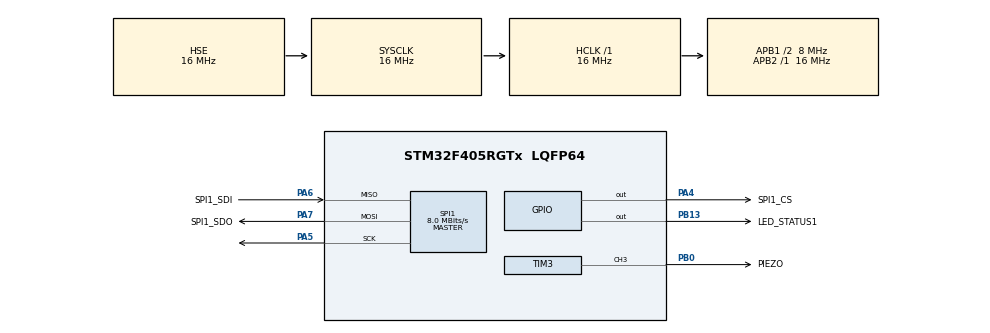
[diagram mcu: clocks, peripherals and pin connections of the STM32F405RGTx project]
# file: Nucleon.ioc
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FREERTOS.Queues01=toneQueue,100,tone,0,Dynamic,NULL,NULL
FREERTOS.Tasks01=blink,24,128,StartBlink,Default,NULL,Dynamic,NULL,NULL;flashDemo,16,128,StartFlashDemo,Default,NULL,Dynamic,NULL,NULL;indicator,8,128,StartIndicator,Default,NULL,Dynamic,NULL,NULL
Mcu.Family=STM32F4
Mcu.Name=STM32F405RGTx
Mcu.Package=LQFP64
NVIC.PriorityGroup=NVIC_PRIORITYGROUP_4
NVIC.TIM6_DAC_IRQn=true\:0\:0\:false\:false\:true\:false\:false\:true
NVIC.TimeBase=TIM6_DAC_IRQn
NVIC.TimeBaseIP=TIM6
PA13.Mode=Trace_Asynchronous_SW
PA13.Signal=SYS_JTMS-SWDIO
PA14.Mode=Trace_Asynchronous_SW
PA14.Signal=SYS_JTCK-SWCLK
PA4.GPIO_Label=SPI1_CS
PA4.Signal=GPIO_Output
PA5.Mode=Full_Duplex_Master
PA5.Signal=SPI1_SCK
PA6.GPIO_Label=SPI1_SDI
PA6.Mode=Full_Duplex_Master
PA6.Signal=SPI1_MISO
PA7.GPIO_Label=SPI1_SDO
PA7.Mode=Full_Duplex_Master
PA7.Signal=SPI1_MOSI
PB0.GPIO_Label=PIEZO
PB0.Signal=S_TIM3_CH3
PB13.GPIO_Label=LED_STATUS1
PB13.Signal=GPIO_Output
PB3.Mode=Trace_Asynchronous_SW
PB3.Signal=SYS_JTDO-SWO
PH0-OSC_IN.Mode=HSE-External-Oscillator
PH0-OSC_IN.Signal=RCC_OSC_IN
PH1-OSC_OUT.Mode=HSE-External-Oscillator
PH1-OSC_OUT.Signal=RCC_OSC_OUT
ProjectManager.HeapSize=0x200
ProjectManager.StackSize=0x400
ProjectManager.TargetToolchain=STM32CubeIDE
RCC.48MHZClocksFreq_Value=25000000
RCC.AHBFreq_Value=16000000
RCC.APB1CLKDivider=RCC_HCLK_DIV2
RCC.APB1Freq_Value=8000000
RCC.APB1TimFreq_Value=16000000
RCC.APB2Freq_Value=16000000
RCC.APB2TimFreq_Value=16000000
RCC.CortexFreq_Value=16000000
RCC.HCLKFreq_Value=16000000
RCC.HSE_VALUE=16000000
RCC.HSI_VALUE=16000000
RCC.LSE_VALUE=32768
RCC.PLLM=8
RCC.PLLN=50
RCC.PLLSourceVirtual=RCC_PLLSOURCE_HSE
RCC.SYSCLKFreq_VALUE=16000000
RCC.SYSCLKSource=RCC_SYSCLKSOURCE_HSE
RCC.VCOOutputFreq_Value=100000000
SH.S_TIM3_CH3.0=TIM3_CH3,PWM Generation3 CH3
SPI1.BaudRatePrescaler=SPI_BAUDRATEPRESCALER_2
SPI1.CalculateBaudRate=8.0 MBits/s
SPI1.Direction=SPI_DIRECTION_2LINES
SPI1.Mode=SPI_MODE_MASTER
SPI1.VirtualType=VM_MASTER
TIM3.Channel-PWM\ Generation3\ CH3=TIM_CHANNEL_3
TIM3.Period=1000
TIM3.Prescaler=16
TIM3.Pulse-PWM\ Generation3\ CH3=500
VP_FREERTOS_VS_CMSIS_V2.Mode=CMSIS_V2
VP_SYS_VS_tim6.Mode=TIM6
VP_TIM3_VS_ClockSourceINT.Mode=Internal
board=custom

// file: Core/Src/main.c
/* USER CODE BEGIN Header */
/**
  ******************************************************************************
  * @file           : main.c
  * @brief          : Main program body
  ******************************************************************************
  * @attention
  *
  * <h2><center>&copy; Copyright (c) 2020 STMicroelectronics.
  * All rights reserved.</center></h2>
  *
  * This software component is licensed by ST under BSD 3-Clause license,
  * the "License"; You may not use this file except in compliance with the
  * License. You may obtain a copy of the License at:
  *                        opensource.org/licenses/BSD-3-Clause
  *
  ******************************************************************************
  */
/* USER CODE END Header */

#include "main.h"
#include "cmsis_os.h"

/* USER CODE BEGIN Includes */
#include "Human_Interface/indicator.h"
#include "stdio.h"
#include "stdbool.h"
/* USER CODE END Includes */

SPI_HandleTypeDef hspi1;

TIM_HandleTypeDef htim3;

/* Definitions for blink */
osThreadId_t blinkHandle;
const osThreadAttr_t blink_attributes = {
  .name = "blink",
  .priority = (osPriority_t) osPriorityNormal,
  .stack_size = 128 * 4
};
/* Definitions for flashDemo */
osThreadId_t flashDemoHandle;
const osThreadAttr_t flashDemo_attributes = {
  .name = "flashDemo",
  .priority = (osPriority_t) osPriorityBelowNormal,
  .stack_size = 128 * 4
};
/* Definitions for indicator */
osThreadId_t indicatorHandle;
const osThreadAttr_t indicator_attributes = {
  .name = "indicator",
  .priority = (osPriority_t) osPriorityLow,
  .stack_size = 128 * 4
};
/* Definitions for toneQueue */
osMessageQueueId_t toneQueueHandle;
const osMessageQueueAttr_t toneQueue_attributes = {
  .name = "toneQueue"
};

void SystemClock_Config(void);
static void MX_GPIO_Init(void);
static void MX_SPI1_Init(void);
static void MX_TIM3_Init(void);
void StartBlink(void *argument);
void StartFlashDemo(void *argument);
void StartIndicator(void *argument);

/* USER CODE BEGIN 0 */
/* SPI Arrays */
uint8_t cmd[4] = {0, 0, 0, 0};
uint8_t data[4] = {0, 0, 0, 0};

/* Redirect printf to debug console */
int _write(int file, char *ptr, int len)
{
	int i = 0;
	for (i = 0; i < len; ++i)
		ITM_SendChar((*ptr++));
	return len;
}
/* USER CODE END 0 */

int main(void)
{

  /* MCU Configuration--------------------------------------------------------*/

  /* Reset of all peripherals, Initializes the Flash interface and the Systick. */
  HAL_Init();

  /* Configure the system clock */
  SystemClock_Config();

  /* Initialize all configured peripherals */
  MX_GPIO_Init();
  MX_SPI1_Init();
  MX_TIM3_Init();

  /* Init scheduler */
  osKernelInitialize();

  /* Create the queue(s) */
  /* creation of toneQueue */
  toneQueueHandle = osMessageQueueNew (100, sizeof(tone), &toneQueue_attributes);

  /* USER CODE BEGIN RTOS_QUEUES */
  toneQueueId = toneQueueHandle;
  piezo = htim3;
  /* add queues, ... */
  /* USER CODE END RTOS_QUEUES */

  /* Create the thread(s) */
  /* creation of blink */
  blinkHandle = osThreadNew(StartBlink, NULL, &blink_attributes);

  /* creation of flashDemo */
  flashDemoHandle = osThreadNew(StartFlashDemo, NULL, &flashDemo_attributes);

  /* creation of indicator */
  indicatorHandle = osThreadNew(StartIndicator, NULL, &indicator_attributes);

  /* USER CODE BEGIN RTOS_THREADS */
  /* add threads, ... */

  /* Boot finished, Kernel ready to start. */
  boot_tone();
  /* USER CODE END RTOS_THREADS */

  /* Start scheduler */
  osKernelStart();

  /* We should never get here as control is now taken by the scheduler */
  /* Infinite loop */
  while (1)
  {

  }
}

void SystemClock_Config(void)
{
  RCC_OscInitTypeDef RCC_OscInitStruct = {0};
  RCC_ClkInitTypeDef RCC_ClkInitStruct = {0};

  /** Configure the main internal regulator output voltage
  */
  __HAL_RCC_PWR_CLK_ENABLE();
  __HAL_PWR_VOLTAGESCALING_CONFIG(PWR_REGULATOR_VOLTAGE_SCALE1);
  /** Initializes the CPU, AHB and APB busses clocks
  */
  RCC_OscInitStruct.OscillatorType = RCC_OSCILLATORTYPE_HSE;
  RCC_OscInitStruct.HSEState = RCC_HSE_ON;
  RCC_OscInitStruct.PLL.PLLState = RCC_PLL_NONE;
  if (HAL_RCC_OscConfig(&RCC_OscInitStruct) != HAL_OK)
  {
    Error_Handler();
  }
  /** Initializes the CPU, AHB and APB busses clocks
  */
  RCC_ClkInitStruct.ClockType = RCC_CLOCKTYPE_HCLK|RCC_CLOCKTYPE_SYSCLK
                              |RCC_CLOCKTYPE_PCLK1|RCC_CLOCKTYPE_PCLK2;
  RCC_ClkInitStruct.SYSCLKSource = RCC_SYSCLKSOURCE_HSE;
  RCC_ClkInitStruct.AHBCLKDivider = RCC_SYSCLK_DIV1;
  RCC_ClkInitStruct.APB1CLKDivider = RCC_HCLK_DIV2;
  RCC_ClkInitStruct.APB2CLKDivider = RCC_HCLK_DIV1;

  if (HAL_RCC_ClockConfig(&RCC_ClkInitStruct, FLASH_LATENCY_0) != HAL_OK)
  {
    Error_Handler();
  }
}

static void MX_SPI1_Init(void)
{

  /* SPI1 parameter configuration*/
  hspi1.Instance = SPI1;
  hspi1.Init.Mode = SPI_MODE_MASTER;
  hspi1.Init.Direction = SPI_DIRECTION_2LINES;
  hspi1.Init.DataSize = SPI_DATASIZE_8BIT;
  hspi1.Init.CLKPolarity = SPI_POLARITY_LOW;
  hspi1.Init.CLKPhase = SPI_PHASE_1EDGE;
  hspi1.Init.NSS = SPI_NSS_SOFT;
  hspi1.Init.BaudRatePrescaler = SPI_BAUDRATEPRESCALER_2;
  hspi1.Init.FirstBit = SPI_FIRSTBIT_MSB;
  hspi1.Init.TIMode = SPI_TIMODE_DISABLE;
  hspi1.Init.CRCCalculation = SPI_CRCCALCULATION_DISABLE;
  hspi1.Init.CRCPolynomial = 10;
  if (HAL_SPI_Init(&hspi1) != HAL_OK)
  {
    Error_Handler();
  }

}

static void MX_TIM3_Init(void)
{

  TIM_ClockConfigTypeDef sClockSourceConfig = {0};
  TIM_MasterConfigTypeDef sMasterConfig = {0};
  TIM_OC_InitTypeDef sConfigOC = {0};

  htim3.Instance = TIM3;
  htim3.Init.Prescaler = 16;
  htim3.Init.CounterMode = TIM_COUNTERMODE_UP;
  htim3.Init.Period = 1000;
  htim3.Init.ClockDivision = TIM_CLOCKDIVISION_DIV1;
  htim3.Init.AutoReloadPreload = TIM_AUTORELOAD_PRELOAD_DISABLE;
  if (HAL_TIM_Base_Init(&htim3) != HAL_OK)
  {
    Error_Handler();
  }
  sClockSourceConfig.ClockSource = TIM_CLOCKSOURCE_INTERNAL;
  if (HAL_TIM_ConfigClockSource(&htim3, &sClockSourceConfig) != HAL_OK)
  {
    Error_Handler();
  }
  if (HAL_TIM_PWM_Init(&htim3) != HAL_OK)
  {
    Error_Handler();
  }
  sMasterConfig.MasterOutputTrigger = TIM_TRGO_RESET;
  sMasterConfig.MasterSlaveMode = TIM_MASTERSLAVEMODE_DISABLE;
  if (HAL_TIMEx_MasterConfigSynchronization(&htim3, &sMasterConfig) != HAL_OK)
  {
    Error_Handler();
  }
  sConfigOC.OCMode = TIM_OCMODE_PWM1;
  sConfigOC.Pulse = 500;
  sConfigOC.OCPolarity = TIM_OCPOLARITY_HIGH;
  sConfigOC.OCFastMode = TIM_OCFAST_DISABLE;
  if (HAL_TIM_PWM_ConfigChannel(&htim3, &sConfigOC, TIM_CHANNEL_3) != HAL_OK)
  {
    Error_Handler();
  }
  HAL_TIM_MspPostInit(&htim3);

}

static void MX_GPIO_Init(void)
{
  GPIO_InitTypeDef GPIO_InitStruct = {0};

  /* GPIO Ports Clock Enable */
  __HAL_RCC_GPIOH_CLK_ENABLE();
  __HAL_RCC_GPIOA_CLK_ENABLE();
  __HAL_RCC_GPIOB_CLK_ENABLE();

  /*Configure GPIO pin Output Level */
  HAL_GPIO_WritePin(SPI1_CS_GPIO_Port, SPI1_CS_Pin, GPIO_PIN_RESET);

  /*Configure GPIO pin Output Level */
  HAL_GPIO_WritePin(LED_STATUS1_GPIO_Port, LED_STATUS1_Pin, GPIO_PIN_RESET);

  /*Configure GPIO pin : SPI1_CS_Pin */
  GPIO_InitStruct.Pin = SPI1_CS_Pin;
  GPIO_InitStruct.Mode = GPIO_MODE_OUTPUT_PP;
  GPIO_InitStruct.Pull = GPIO_NOPULL;
  GPIO_InitStruct.Speed = GPIO_SPEED_FREQ_LOW;
  HAL_GPIO_Init(SPI1_CS_GPIO_Port, &GPIO_InitStruct);

  /*Configure GPIO pin : LED_STATUS1_Pin */
  GPIO_InitStruct.Pin = LED_STATUS1_Pin;
  GPIO_InitStruct.Mode = GPIO_MODE_OUTPUT_PP;
  GPIO_InitStruct.Pull = GPIO_NOPULL;
  GPIO_InitStruct.Speed = GPIO_SPEED_FREQ_LOW;
  HAL_GPIO_Init(LED_STATUS1_GPIO_Port, &GPIO_InitStruct);

}

void StartBlink(void *argument)
{
  /* USER CODE BEGIN 5 */
  /* Infinite loop */
  for(;;)
  {
	  rest(2000);
	  number_tone(4200);
	  rest(2000);
	  standby_tone();
	  HAL_GPIO_TogglePin(LED_STATUS1_GPIO_Port, LED_STATUS1_Pin);
	  rest(2000);
	  standby_tone();
	  osDelay(8000);
  }

  osThreadTerminate(NULL);
  /* USER CODE END 5 */
}

void StartFlashDemo(void *argument)
{
  /* USER CODE BEGIN StartFlashDemo */
  cmd[0] = 0x9f;
  /* Infinite loop */
  for(;;)
  {
	  HAL_GPIO_WritePin(SPI1_CS_GPIO_Port, SPI1_CS_Pin, GPIO_PIN_SET);
	  HAL_GPIO_WritePin(SPI1_CS_GPIO_Port, SPI1_CS_Pin, GPIO_PIN_RESET);
	  HAL_SPI_TransmitReceive(&hspi1, cmd, data, 4, 0xff);
	  osDelay(1);
	  /* For some reason, printf seems to break threads */
	  /*printf("JedecID: %02x-%02x%02x\n", data[1], data[2], data[3]);*/
	  HAL_GPIO_WritePin(SPI1_CS_GPIO_Port, SPI1_CS_Pin, GPIO_PIN_SET);
	  osDelay(3000);
  }

  osThreadTerminate(NULL);
  /* USER CODE END StartFlashDemo */
}

void StartIndicator(void *argument)
{
  /* USER CODE BEGIN StartIndicator */
  /* Infinite loop */
  for(;;)
  {
    indicator_task();
  }
  /* USER CODE END StartIndicator */
}

 /**
  * @brief  Period elapsed callback in non blocking mode
  * @note   This function is called  when TIM6 interrupt took place, inside
  * HAL_TIM_IRQHandler(). It makes a direct call to HAL_IncTick() to increment
  * a global variable "uwTick" used as application time base.
  * @param  htim : TIM handle
  * @retval None
  */
void HAL_TIM_PeriodElapsedCallback(TIM_HandleTypeDef *htim)
{
  if (htim->Instance == TIM6) {
    HAL_IncTick();
  }
}

void Error_Handler(void)
{
}

/************************ (C) COPYRIGHT STMicroelectronics *****END OF FILE****/
